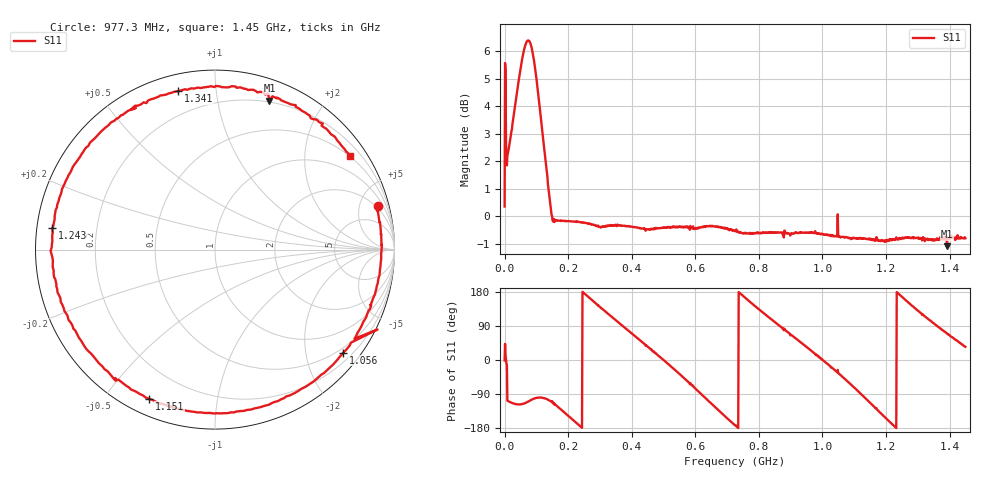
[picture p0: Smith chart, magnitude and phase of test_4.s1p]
! Created with skrf 1.11.0 (http://scikit-rf.org).
# Hz S RI R 50.0
!freq ReS11 ImS11
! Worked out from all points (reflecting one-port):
!   1001 points, 50 kHz to 1.45 GHz, reference 50 ohm
!   lowest |S11| = -1.1 dB at 1.392 GHz (marker M1), VSWR 16.04, Z = 9.42 + j70.7 ohm
!   phase of S11 starts at -1 deg and turns -1044 deg over the sweep
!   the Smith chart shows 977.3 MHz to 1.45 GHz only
!   S11 on the Smith chart (normalised r, x): 977.3 MHz: 1.71, +7.16; 1.056 GHz: 0.39, -2.79; 1.151 GHz: 0.07, -0.65; 1.243 GHz: 0.05, +0.06; 1.341 GHz: 0.08, +0.79; 1.45 GHz: 0.50, +3.12
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50000  1.042 -0.0237
1.599945e7  -0.4764 -1.274
5.079825e7  -0.8464 -1.661
7.54474e7  -0.6891 -1.971
1.17496e8  -0.2432 -1.43
1.812938e8  -0.6749 -0.7136
2.639409e8  -0.9429 0.2311
3.625375e8  -0.1027 0.9578
4.103858e8  0.435 0.8511
4.65484e8  0.8706 0.376
5.437812e8  0.8137 -0.5049
5.887297e8  0.3846 -0.871
6.307782e8  -0.1584 -0.9461
6.815265e8  -0.7247 -0.621
7.25025e8  -0.9307 -0.1276
7.714234e8  -0.8392 0.409
8.236216e8  -0.4377 0.8238
9.062688e8  0.4169 0.8317
9.773163e8  0.9074 0.2444
1.055614e9  0.7139 -0.574
1.087512e9  0.4164 -0.8126
1.15131e9  -0.3682 -0.8307
1.202059e9  -0.8216 -0.3686
1.242657e9  -0.9062 0.1183
1.268756e9  -0.8178 0.4117
1.341254e9  -0.206 0.8826
1.392002e9  0.3031 0.829
1.45e9  0.7497 0.5198
